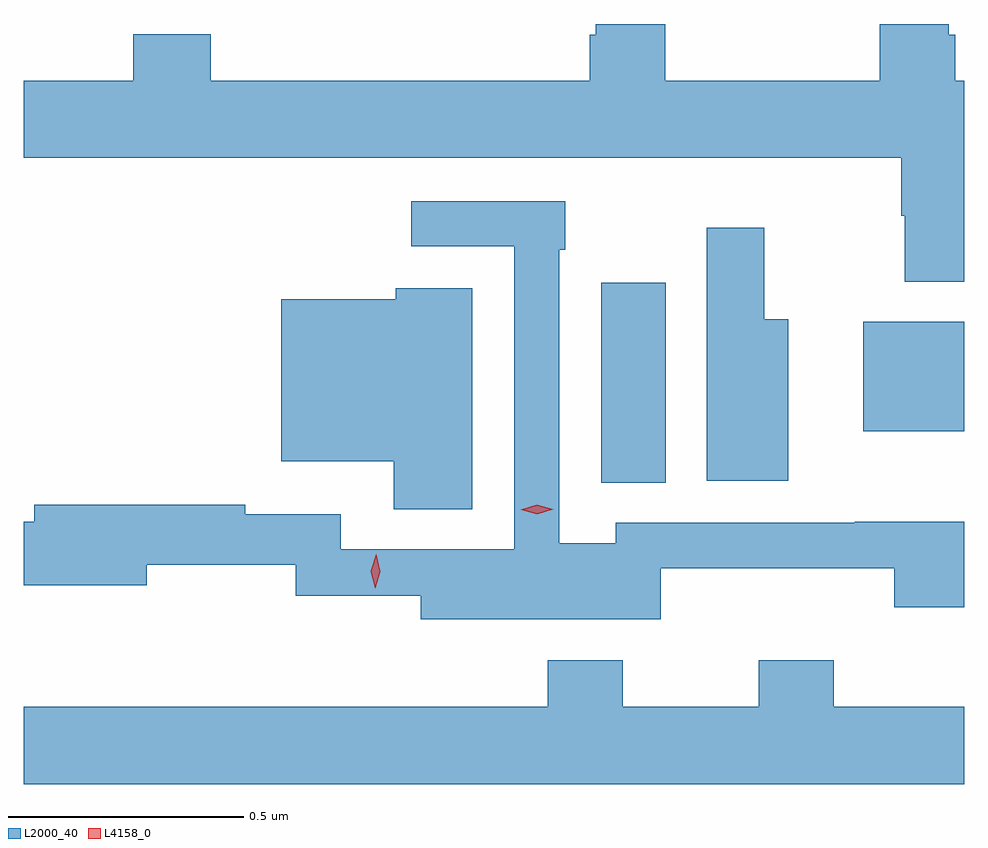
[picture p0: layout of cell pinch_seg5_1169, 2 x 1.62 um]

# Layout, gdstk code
import gdstk
lib = gdstk.Library(unit=1e-6, precision=1e-09)
def R(c, l, rs):  # rectangles x0, y0, x1, y1
    for r in rs: c.add(gdstk.rectangle(r[:2], r[2:], *l))
def P(c, l, *ps):  # polygons
    for p in ps: c.add(gdstk.Polygon(p, *l))
L2000_40 = (2000, 40)
L4158_0 = (4158, 0)

pinch_seg5_1169 = lib.new_cell('pinch_seg5_1169')
R(pinch_seg5_1169, L2000_40, [(782.297,852.073,782.434,852.499), (782.855,852.182,783.069,852.415)])
P(pinch_seg5_1169, L2000_40, [(783.069,852.928),(783.05,852.928),(783.05,853.026),(783.037,853.026),(783.037,853.049),(782.89,853.049),(782.89,852.928),(782.433,852.928),(782.433,853.049),(782.285,853.049),(782.285,853.026),(782.273,853.026),(782.273,852.928),(781.466,852.928),(781.466,853.027),(781.301,853.027),(781.301,852.928),(781.069,852.928),(781.069,852.764),(782.935,852.764),(782.935,852.641),(782.943,852.641),(782.943,852.501),(783.069,852.501)],
  [(782.424,851.891),(782.921,851.891),(782.921,851.808),(783.069,851.808),(783.069,851.99),(782.837,851.99),(782.837,851.988),(782.328,851.988),(782.328,851.944),(782.208,851.944),(782.208,852.569),(782.221,852.569),(782.221,852.672),(781.893,852.672),(781.893,852.576),(782.112,852.576),(782.112,851.931),(781.743,851.931),(781.743,852.006),(781.54,852.006),(781.54,852.026),(781.091,852.026),(781.091,851.99),(781.069,851.99),(781.069,851.855),(781.33,851.855),(781.33,851.898),(781.647,851.898),(781.647,851.833),(781.913,851.833),(781.913,851.783),(782.424,851.783)],
  [(782.695,852.421),(782.644,852.421),(782.644,852.616),(782.522,852.616),(782.522,852.077),(782.695,852.077)],
  [(782.023,852.487),(781.86,852.487),(781.86,852.463),(781.616,852.463),(781.616,852.119),(781.856,852.119),(781.856,852.017),(782.023,852.017)],
  [(783.069,851.596),(782.792,851.596),(782.792,851.695),(782.632,851.695),(782.632,851.596),(782.343,851.596),(782.343,851.695),(782.183,851.695),(782.183,851.596),(781.069,851.596),(781.069,851.432),(783.069,851.432)])
P(pinch_seg5_1169, L4158_0, [(782.161,852.006),(782.126,852.015),(782.126,852.015),(782.126,852.015),(782.16,852.026),(782.195,852.017),(782.195,852.017),(782.195,852.017)],
  [(781.816,851.848),(781.816,851.848),(781.807,851.885),(781.818,851.921),(781.818,851.921),(781.819,851.921),(781.827,851.884),(781.816,851.848)])

lib.write_gds('pinch_seg5_1169.gds')
